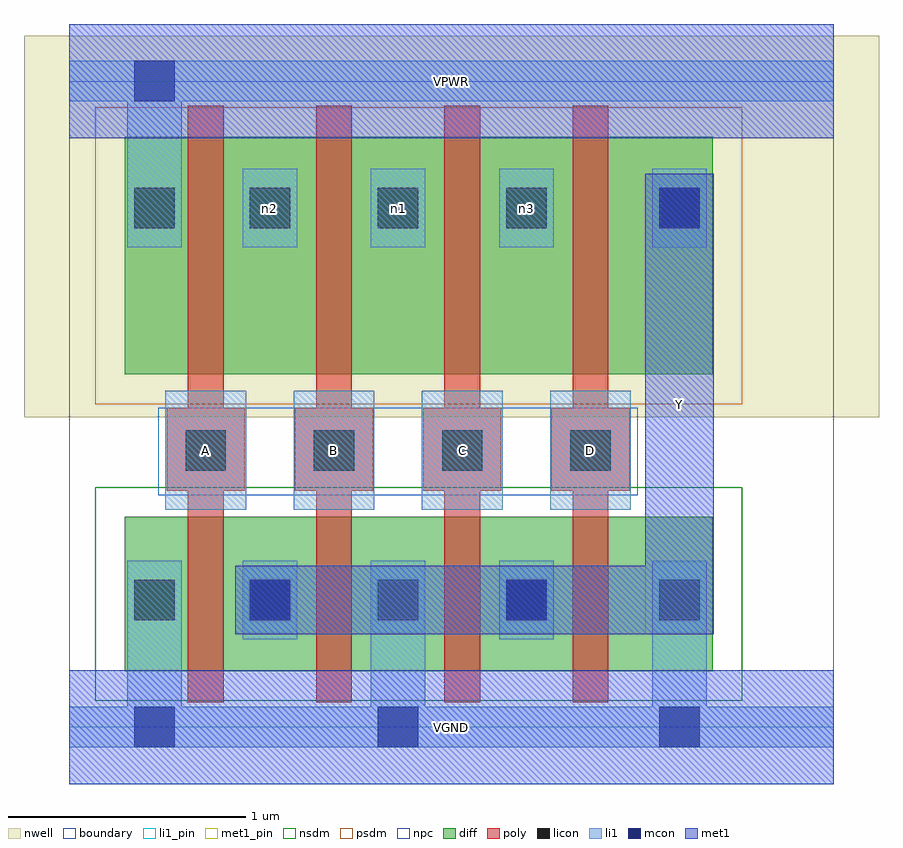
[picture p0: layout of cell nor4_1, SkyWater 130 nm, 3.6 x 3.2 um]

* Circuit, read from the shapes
.subckt nor4_1 A B C D VGND VPWR Y n1 n2 n3
XM1 Y A VGND VSUBS sky130_fd_pr__nfet_01v8 w=0.65 l=0.15
XM2 VGND B Y VSUBS sky130_fd_pr__nfet_01v8 w=0.65 l=0.15
XM3 Y C VGND VSUBS sky130_fd_pr__nfet_01v8 w=0.65 l=0.15
XM4 VGND D Y VSUBS sky130_fd_pr__nfet_01v8 w=0.65 l=0.15
XM5 n2 A VPWR n4 sky130_fd_pr__pfet_01v8 w=1 l=0.15
XM6 n1 B n2 n4 sky130_fd_pr__pfet_01v8 w=1 l=0.15
XM7 n3 C n1 n4 sky130_fd_pr__pfet_01v8 w=1 l=0.15
XM8 Y D n3 n4 sky130_fd_pr__pfet_01v8 w=1 l=0.15
.ends

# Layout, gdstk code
import gdstk
lib = gdstk.Library(unit=1e-6, precision=1e-09)
def R(c, l, rs):  # rectangles x0, y0, x1, y1
    for r in rs: c.add(gdstk.rectangle(r[:2], r[2:], *l))
def A(c, l, x, y, w, h, nx, ny, dx, dy):  # array of equal rectangles
    R(c, l, [(x+i*dx, y+j*dy, x+i*dx+w, y+j*dy+h) for i in range(nx) for j in range(ny)])
nwell = (64, 20)
diff = (65, 20)
poly = (66, 20)
licon = (66, 44)
li1_pin = (67, 16)
li1 = (67, 20)
mcon = (67, 44)
met1_pin = (68, 16)
met1 = (68, 20)
nsdm = (93, 44)
psdm = (94, 20)
npc = (95, 20)
boundary = (235, 4)

nor4_1 = lib.new_cell('nor4_1')
R(nor4_1, nwell, [(-0.19,1.305,3.41,2.91), (0,1.305,3.22,2.91)])
R(nor4_1, diff, [(0.235,0.235,2.71,0.885), (0.235,1.485,2.71,2.485)])
A(nor4_1, poly, 0.5, 0.105, 0.15, 2.51, 4, 1, 0.54, 0)
A(nor4_1, poly, 0.41, 0.995, 0.33, 0.35, 4, 1, 0.54, 0)
A(nor4_1, licon, 0.76, 0.45, 0.17, 0.17, 3, 2, 0.54, 1.65)
A(nor4_1, licon, 0.49, 1.08, 0.17, 0.17, 4, 1, 0.54, 0)
R(nor4_1, licon, [(0.275,0.45,0.445,0.62), (2.485,0.45,2.655,0.62), (0.275,2.1,0.445,2.27), (2.485,2.1,2.655,2.27)])
A(nor4_1, li1_pin, 0.405, 0.915, 0.34, 0.5, 4, 1, 0.54, 0)
A(nor4_1, li1, 0.405, 0.915, 0.34, 0.5, 4, 1, 0.54, 0)
A(nor4_1, li1, 0.73, 2.02, 0.23, 0.33, 3, 1, 0.54, 0)
R(nor4_1, li1, [(0,-0.085,3.22,0.085), (0.245,-0.085,0.475,0.7), (1.27,-0.085,1.5,0.7), (2.455,-0.085,2.685,0.7), (0.73,0.37,0.96,0.7), (1.81,0.37,2.04,0.7), (0.245,2.02,0.475,2.805), (2.455,2.02,2.685,2.35), (0,2.635,3.22,2.805)])
R(nor4_1, mcon, [(0.275,-0.085,0.445,0.085), (1.3,-0.085,1.47,0.085), (2.485,-0.085,2.655,0.085), (0.76,0.45,0.93,0.62), (1.84,0.45,2.01,0.62), (2.485,2.1,2.655,2.27), (0.275,2.635,0.445,2.805)])
R(nor4_1, met1_pin, [(0,-0.24,3.22,0.24), (2.425,0.39,2.715,2.33), (0,2.48,3.22,2.96)])
R(nor4_1, met1, [(0,-0.24,3.22,0.24), (0.7,0.39,2.715,0.68), (2.425,0.39,2.715,2.33), (0,2.48,3.22,2.96)])
R(nor4_1, nsdm, [(0.11,0.11,2.835,1.01)])
R(nor4_1, psdm, [(0.11,1.36,2.835,2.61)])
R(nor4_1, npc, [(0.375,0.975,2.395,1.345)])
R(nor4_1, boundary, [(0,0,3.22,2.72)])
nor4_1.add(gdstk.Label('A', (0.575,1.165), layer=67, texttype=5))
nor4_1.add(gdstk.Label('B', (1.115,1.165), layer=67, texttype=5))
nor4_1.add(gdstk.Label('C', (1.655,1.165), layer=67, texttype=5))
nor4_1.add(gdstk.Label('D', (2.195,1.165), layer=67, texttype=5))
nor4_1.add(gdstk.Label('n2', (0.845,2.185), layer=67, texttype=5))
nor4_1.add(gdstk.Label('n1', (1.385,2.185), layer=67, texttype=5))
nor4_1.add(gdstk.Label('n3', (1.925,2.185), layer=67, texttype=5))
nor4_1.add(gdstk.Label('Y', (2.57,1.36), layer=68, texttype=5))
nor4_1.add(gdstk.Label('VPWR', (1.61,2.72), layer=68, texttype=5))
nor4_1.add(gdstk.Label('VGND', (1.61,0), layer=68, texttype=5))
nor4_1.add(gdstk.Label('A', (0.575,1.165), layer=67, texttype=16))
nor4_1.add(gdstk.Label('B', (1.115,1.165), layer=67, texttype=16))
nor4_1.add(gdstk.Label('C', (1.655,1.165), layer=67, texttype=16))
nor4_1.add(gdstk.Label('D', (2.195,1.165), layer=67, texttype=16))
nor4_1.add(gdstk.Label('Y', (2.57,1.36), layer=68, texttype=16))
nor4_1.add(gdstk.Label('VPWR', (1.61,2.72), layer=68, texttype=16))
nor4_1.add(gdstk.Label('VGND', (1.61,0), layer=68, texttype=16))

lib.write_gds('nor4_1.gds')
